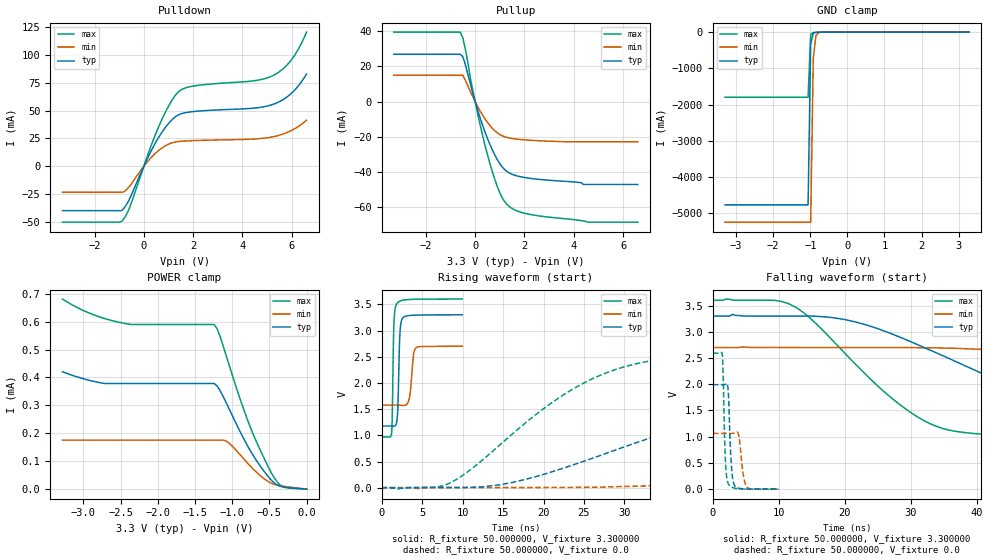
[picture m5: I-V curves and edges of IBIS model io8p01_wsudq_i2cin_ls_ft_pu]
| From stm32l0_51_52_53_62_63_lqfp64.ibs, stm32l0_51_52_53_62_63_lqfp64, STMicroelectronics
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|   Model io8p01_wsudq_i2cin_ls_ft_pu
[Model]  io8p01_wsudq_i2cin_ls_ft_pu
Model_type I/O
Polarity   Non-Inverting
Enable   Active-Low
Vinl =   0.990000V
Vinh =   2.310000V
Vmeas =  1.650000V
Cref =   50.000000pF
Rref =   100.000000M
Vref =   0.0V
C_comp   3.020400pF   2.988200pF   3.054500pF
[Temperature Range]   25.000000   0.125000k   -40.000000
[Pullup Reference]   3.300000V   2.700000V   3.600000V
[Pulldown Reference]   0.0V   0.0V   0.0V
[POWER Clamp Reference]   3.300000V   2.700000V   3.600000V
[GND Clamp Reference]   0.0V   0.0V   0.0V
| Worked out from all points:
|   slope of the pulldown table from 0 to 0.495 V, typ, clamps not added: 22.6 ohm
|   slope of the pullup table from 0 to 0.495 V, typ, clamps not added: 23.9 ohm
|   GND clamp passes 1 mA (typ) near -0.64 V on its own axis
|   rising waveform, R_fixture 50.000000, V_fixture 3.300000: 20-80 % time 222ps typ, 369ps min, 182ps max; typ from 1.18 V to 3.3 V
|   rising waveform, R_fixture 50.000000, V_fixture 0.0: 20-80 % time 27.1ns typ, 59.5ns min, 13.6ns max; typ from 0.001 V to 1.99 V
|   falling waveform, R_fixture 50.000000, V_fixture 3.300000: 20-80 % time 24.2ns typ, 53.1ns min, 13.3ns max; typ from 3.3 V to 1.18 V
|   falling waveform, R_fixture 50.000000, V_fixture 0.0: 20-80 % time 410ps typ, 573ps min, 333ps max; typ from 1.99 V to 0.001 V
[Pulldown]
|Voltage   I(typ)   I(min)   I(max)
-3.3V     -39.83mA   -23.37mA   -50.2mA
-900mV    -39.83mA   -23.37mA   -49.52mA
-600mV    -30.28mA   -18.59mA   -38.45mA
100mV     4.867mA    2.821mA    6.48mA
600mV     25.85mA    14.17mA    35.39mA
1V        38.33mA    19.81mA    53.88mA
1.4V      46.1mA     22.18mA    66.72mA
2V        49.07mA    23.02mA    71.93mA
4.4V      52.05mA    24.38mA    76.53mA
5.2V      55.25mA    26.31mA    81.02mA
6V        65.78mA    32.24mA    95.96mA
6.6V      82.83mA    41.41mA    120.4mA
[Pullup]
|Voltage   I(typ)   I(min)   I(max)
-3.3V     26.78mA    14.88mA    39.37mA
-600mV    26.78mA    14.88mA    39.37mA
-500mV    25.42mA    14.88mA    36.13mA
-400mV    21.16mA    12.2mA     30.01mA
-200mV    10.44mA    5.971mA    13.84mA
100mV     -4.685mA   -2.744mA   -6.647mA
600mV     -24.29mA   -13.56mA   -35.12mA
1V        -35.2mA    -18.69mA   -51.63mA
1.4V      -40.6mA    -20.72mA   -59.71mA
2.2V      -43.48mA   -21.92mA   -63.91mA
4.6V      -47mA      -22.8mA    -68.4mA
6.6V      -47mA      -22.8mA    -68.4mA
[GND_clamp]
|Voltage   I(typ)   I(min)   I(max)
-3.3V     -4.766A    -5.244A    -1.797A
-1.06V    -4.766A    -5.244A    -1.797A
-990mV    -326.6mA   -5.244A    -67.9mA
-920mV    -28.92mA   -722.1mA   -10.96mA
-850mV    -6.612mA   -104.2mA   -6.532mA
-780mV    -3.464mA   -17.27mA   -4.209mA
-500mV    -57.88uA   -167.8uA   -34.02uA
3.28V     0A         0A         0A
[POWER_clamp]
|Voltage   I(typ)   I(min)   I(max)
-3.28V    420.5uA    175.8uA    680.6uA
-2.72V    378.4uA    175.8uA    611.4uA
-2.4V     378.3uA    175.8uA    591.2uA
-1.24V    378.3uA    175.8uA    588.9uA
-1.2V     368.9uA    175.8uA    573.6uA
-1.08V    309.6uA    172.2uA    478.3uA
-920mV    220.5uA    131.5uA    344.5uA
-760mV    139.7uA    83.77uA    224.7uA
-480mV    33.95uA    22.2uA     61.82uA
-400mV    15.86uA    14.74uA    27.74uA
-320mV    8.147uA    10.83uA    9.34uA
0V        0A         0A         0A
[Ramp]
| variable   typ   min   max
dV/dt_r  1.19492/27.04723n   0.63581/59.53593n   1.55547/13.57437n
dV/dt_f  1.27344/24.19643n   0.66960/53.09159n   1.57816/13.29439n
R_load = 50.000000
[Rising Waveform]
R_fixture= 50.000000
V_fixture= 3.300000
V_fixture_min= 2.700000
V_fixture_max= 3.600000
|time   V(typ)   V(min)   V(max)
0s        1.178V     1.575V     969.7mV
1.241ns   1.177V     1.575V     1.039V
1.522ns   1.174V     1.575V     3.078V
1.862ns   1.244V     1.575V     3.508V
2.022ns   1.569V     1.575V     3.536V
2.282ns   2.969V     1.574V     3.56V
2.603ns   3.238V     1.57V      3.578V
3.423ns   3.285V     1.699V     3.591V
4.264ns   3.293V     2.671V     3.596V
9.97ns    3.3V       2.7V       3.6V
[Rising Waveform]
R_fixture= 50.000000
V_fixture= 0.0
V_fixture_min= 0.0
V_fixture_max= 0.0
|time   V(typ)   V(min)   V(max)
0s        1.061mV    1.817mV    656.1uV
8.008ns   3.229mV    4.287mV    61.17mV
15.02ns   66.99mV    4.294mV    872.2mV
25.03ns   508mV      7.544mV    2.001V
31.03ns   835.7mV    27.56mV    2.35V
39.04ns   1.222V     76.06mV    2.518V
57.56ns   1.751V     281.2mV    2.584V
82.08ns   1.948V     592.9mV    2.592V
138.6ns   1.992V     970.9mV    2.593V
249.2ns   1.993V     1.064V     2.593V
[Falling Waveform]
R_fixture= 50.000000
V_fixture= 3.300000
V_fixture_min= 2.700000
V_fixture_max= 3.600000
|time   V(typ)   V(min)   V(max)
0s        3.3V       2.7V       3.6V
12.01ns   3.3V       2.7V       3.504V
20.02ns   3.232V     2.7V       2.59V
29.53ns   2.836V     2.699V     1.503V
34.03ns   2.59V      2.693V     1.19V
39.54ns   2.277V     2.671V     1.061V
56.56ns   1.485V     2.525V     988.6mV
73.07ns   1.281V     2.303V     975.4mV
123.6ns   1.189V     1.744V     969.9mV
249.2ns   1.178V     1.575V     969.7mV
[Falling Waveform]
R_fixture= 50.000000
V_fixture= 0.0
V_fixture_min= 0.0
V_fixture_max= 0.0
|time   V(typ)   V(min)   V(max)
0s        1.993V     1.064V     2.593V
1.441ns   1.993V     1.064V     2.565V
1.542ns   1.992V     1.064V     2.321V
1.922ns   1.998V     1.064V     528.2mV
2.362ns   1.816V     1.064V     100.8mV
2.783ns   520mV      1.064V     46.83mV
3.263ns   79.71mV    1.068V     21.27mV
3.924ns   19mV       1.03V      7.529mV
5.085ns   4.878mV    53.9mV     3.451mV
9.97ns    1.061mV    1.817mV    656.1uV
